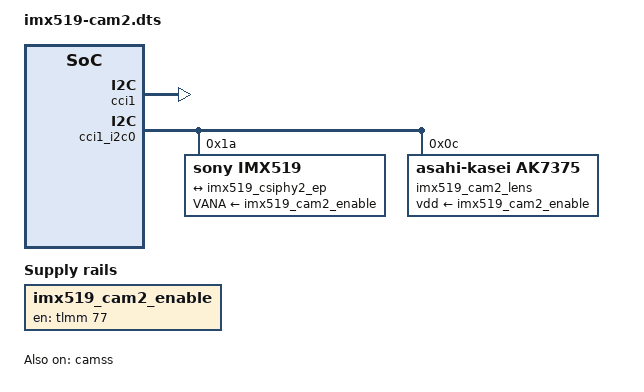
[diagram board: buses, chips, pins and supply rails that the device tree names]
// SPDX-License-Identifier: GPL-2.0-only
// Copyright (c) 2025 Radxa Computer (Shenzhen) Co., Ltd.
// Adapted for IMX519 on Q6A CAM2, 2026-10-11.
// CAM2 routing follows Radxa's Q6A IMX219 overlay (BSD-3-Clause).
// This initial configuration assumes the module has a 24 MHz oscillator
// and local sensor voltage regulators. It does not drive an SoC MCLK pin.
// VANA models the module enable; VDIG/VDDL use kernel dummy supplies.
// AK7375 and lens-focus follow the Raspberry Pi IMX519 module reference.
// The physical module, oscillator and autofocus are not yet verified.
/dts-v1/;
/plugin/;

/ {
    metadata {
        title = "Enable IMX519 camera on CAM2";
        compatible = "radxa,dragon-q6a";
        category = "camera";
        exclusive = "cci1_i2c0";
        description = "IMX519 RAW10, 2 lanes, module oscillator 24 MHz.";
    };
};

&{/} {
    imx519_cam2_clock: imx519-cam2-clock {
        compatible = "fixed-clock";
        #clock-cells = <0>;
        clock-frequency = <24000000>;
        clock-output-names = "imx519_cam2_extclk";
    };

    imx519_cam2_enable: imx519-cam2-enable {
        compatible = "regulator-fixed";
        regulator-name = "imx519_cam2_enable";
        regulator-always-on;
        enable-active-high;
        gpios = <&tlmm 77 0>;
        pinctrl-names = "default";
        pinctrl-0 = <&imx519_cam2_enable_pins>;
    };
};

&{/reserved-memory} {
    linux,cma {
        compatible = "shared-dma-pool";
        size = <0x0 0x8000000>;
        reusable;
        linux,cma-default;
    };
};

&camss {
    vdda-phy-supply = <&vreg_l10c_0p88>;
    vdda-pll-supply = <&vreg_l6b_1p2>;
    status = "okay";
    ports {
        #address-cells = <1>;
        #size-cells = <0>;
        port@2 {
            reg = <2>;
            imx519_csiphy2_ep: endpoint {
                clock-lanes = <7>;
                data-lanes = <0 1>;
                remote-endpoint = <&imx519_cam2_ep>;
            };
        };
    };
};

&cci1 { status = "okay"; };

&cci1_i2c0 {
    #address-cells = <1>;
    #size-cells = <0>;
    status = "okay";
    imx519@1a {
        compatible = "sony,imx519";
        reg = <0x1a>;
        clocks = <&imx519_cam2_clock>;
        clock-names = "xclk";
        lens-focus = <&imx519_cam2_lens>;
        rotation = <0>;
        orientation = <2>;
        VANA-supply = <&imx519_cam2_enable>;
        port {
            imx519_cam2_ep: endpoint {
                clock-lanes = <0>;
                data-lanes = <1 2>;
                clock-noncontinuous;
                link-frequencies = /bits/ 64 <408000000>;
                remote-endpoint = <&imx519_csiphy2_ep>;
            };
        };
    };
    imx519_cam2_lens: ak7375@c {
        compatible = "asahi-kasei,ak7375";
        reg = <0x0c>;
        vdd-supply = <&imx519_cam2_enable>;
    };
};

&tlmm {
    imx519_cam2_enable_pins: imx519-cam2-enable-state {
        pins = "gpio77";
        function = "gpio";
        drive-strength = <2>;
        bias-pull-up;
    };
};
